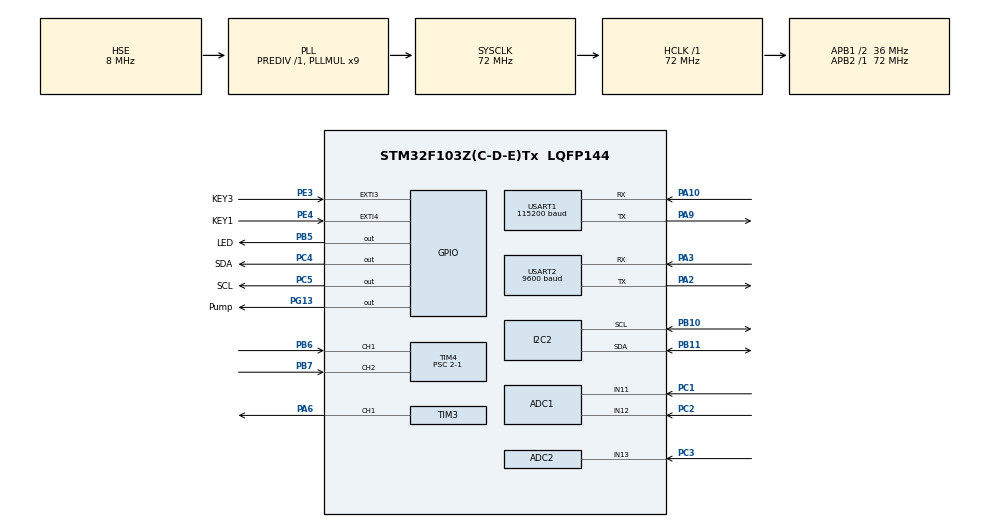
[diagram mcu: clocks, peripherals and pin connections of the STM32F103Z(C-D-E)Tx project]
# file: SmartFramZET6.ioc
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ADC1.Channel-1\#ChannelRegularConversion=ADC_CHANNEL_12
ADC1.Channel-2\#ChannelRegularConversion=ADC_CHANNEL_11
ADC1.ContinuousConvMode=ENABLE
ADC1.NbrOfConversion=2
ADC1.NbrOfConversionFlag=1
ADC1.Rank-1\#ChannelRegularConversion=1
ADC1.Rank-2\#ChannelRegularConversion=2
ADC1.SamplingTime-1\#ChannelRegularConversion=ADC_SAMPLETIME_239CYCLES_5
ADC1.SamplingTime-2\#ChannelRegularConversion=ADC_SAMPLETIME_239CYCLES_5
ADC1.master=1
ADC2.Channel-1\#ChannelRegularConversion=ADC_CHANNEL_13
ADC2.ContinuousConvMode=ENABLE
ADC2.NbrOfConversionFlag=1
ADC2.Rank-1\#ChannelRegularConversion=1
ADC2.SamplingTime-1\#ChannelRegularConversion=ADC_SAMPLETIME_239CYCLES_5
Dma.ADC1.2.Direction=DMA_PERIPH_TO_MEMORY
Dma.ADC1.2.Instance=DMA1_Channel1
Dma.ADC1.2.MemDataAlignment=DMA_MDATAALIGN_HALFWORD
Dma.ADC1.2.MemInc=DMA_MINC_ENABLE
Dma.ADC1.2.Mode=DMA_CIRCULAR
Dma.ADC1.2.PeriphDataAlignment=DMA_PDATAALIGN_HALFWORD
Dma.ADC1.2.PeriphInc=DMA_PINC_DISABLE
Dma.ADC1.2.Priority=DMA_PRIORITY_LOW
Dma.Request0=USART2_RX
Dma.Request1=USART2_TX
Dma.Request2=ADC1
Dma.Request3=USART1_RX
Dma.Request4=USART1_TX
Dma.USART1_RX.3.Direction=DMA_PERIPH_TO_MEMORY
Dma.USART1_RX.3.Instance=DMA1_Channel5
Dma.USART1_RX.3.MemDataAlignment=DMA_MDATAALIGN_BYTE
Dma.USART1_RX.3.MemInc=DMA_MINC_ENABLE
Dma.USART1_RX.3.Mode=DMA_NORMAL
Dma.USART1_RX.3.PeriphDataAlignment=DMA_PDATAALIGN_BYTE
Dma.USART1_RX.3.PeriphInc=DMA_PINC_DISABLE
Dma.USART1_RX.3.Priority=DMA_PRIORITY_LOW
Dma.USART1_TX.4.Direction=DMA_MEMORY_TO_PERIPH
Dma.USART1_TX.4.Instance=DMA1_Channel4
Dma.USART1_TX.4.MemDataAlignment=DMA_MDATAALIGN_BYTE
Dma.USART1_TX.4.MemInc=DMA_MINC_ENABLE
Dma.USART1_TX.4.Mode=DMA_NORMAL
Dma.USART1_TX.4.PeriphDataAlignment=DMA_PDATAALIGN_BYTE
Dma.USART1_TX.4.PeriphInc=DMA_PINC_DISABLE
Dma.USART1_TX.4.Priority=DMA_PRIORITY_LOW
Dma.USART2_RX.0.Direction=DMA_PERIPH_TO_MEMORY
Dma.USART2_RX.0.Instance=DMA1_Channel6
Dma.USART2_RX.0.MemDataAlignment=DMA_MDATAALIGN_BYTE
Dma.USART2_RX.0.MemInc=DMA_MINC_ENABLE
Dma.USART2_RX.0.Mode=DMA_NORMAL
Dma.USART2_RX.0.PeriphDataAlignment=DMA_PDATAALIGN_BYTE
Dma.USART2_RX.0.PeriphInc=DMA_PINC_DISABLE
Dma.USART2_RX.0.Priority=DMA_PRIORITY_LOW
Dma.USART2_TX.1.Direction=DMA_MEMORY_TO_PERIPH
Dma.USART2_TX.1.Instance=DMA1_Channel7
Dma.USART2_TX.1.MemDataAlignment=DMA_MDATAALIGN_BYTE
Dma.USART2_TX.1.MemInc=DMA_MINC_ENABLE
Dma.USART2_TX.1.Mode=DMA_NORMAL
Dma.USART2_TX.1.PeriphDataAlignment=DMA_PDATAALIGN_BYTE
Dma.USART2_TX.1.PeriphInc=DMA_PINC_DISABLE
Dma.USART2_TX.1.Priority=DMA_PRIORITY_LOW
FREERTOS.BinarySemaphores01=InputEventSem,Dynamic,NULL,Available
FREERTOS.Mutexes01=i2c2Mutex,Dynamic,NULL,Available
FREERTOS.Queues01=BLEQueue,16,char*,0,Dynamic,NULL,NULL
FREERTOS.Tasks01=SensorTask,24,512,StartSensorTask,As weak,NULL,Dynamic,NULL,NULL;InputTask,40,128,StartInputTask,As external,NULL,Dynamic,NULL,NULL;ScreenTask,21,128,StartScreenTask,As external,NULL,Dynamic,NULL,NULL;BLETask,8,256,StartBLETask,As external,NULL,Dynamic,NULL,NULL
FREERTOS.Timers01=BeepTimer,BeepTimerCallback,osTimerPeriodic,As external,NULL,Dynamic,NULL
FREERTOS.configGENERATE_RUN_TIME_STATS=1
FREERTOS.configRECORD_STACK_HIGH_ADDRESS=1
FREERTOS.configTOTAL_HEAP_SIZE=10240
FREERTOS.configUSE_TICKLESS_IDLE=0
Mcu.Family=STM32F1
Mcu.Name=STM32F103Z(C-D-E)Tx
Mcu.Package=LQFP144
NVIC.DMA1_Channel1_IRQn=true\:5\:0\:false\:false\:true\:true\:false\:true\:true
NVIC.DMA1_Channel4_IRQn=true\:5\:0\:false\:false\:true\:true\:false\:true\:true
NVIC.DMA1_Channel5_IRQn=true\:5\:0\:false\:false\:true\:true\:false\:true\:true
NVIC.DMA1_Channel6_IRQn=true\:5\:0\:false\:false\:true\:true\:false\:true\:true
NVIC.DMA1_Channel7_IRQn=true\:5\:0\:false\:false\:true\:true\:false\:true\:true
NVIC.EXTI3_IRQn=true\:6\:0\:true\:false\:true\:true\:true\:true\:true
NVIC.EXTI4_IRQn=true\:6\:0\:true\:false\:true\:true\:true\:true\:true
NVIC.PriorityGroup=NVIC_PRIORITYGROUP_4
NVIC.RTC_Alarm_IRQn=true\:5\:0\:false\:false\:true\:true\:true\:true\:true
NVIC.TIM2_IRQn=true\:15\:0\:false\:false\:true\:false\:false\:true\:true
NVIC.TimeBase=TIM2_IRQn
NVIC.TimeBaseIP=TIM2
NVIC.USART1_IRQn=true\:5\:0\:false\:false\:true\:true\:true\:true\:true
NVIC.USART2_IRQn=true\:5\:0\:false\:false\:true\:true\:true\:true\:true
OSC_IN.Mode=HSE-External-Oscillator
OSC_IN.Signal=RCC_OSC_IN
OSC_OUT.Mode=HSE-External-Oscillator
OSC_OUT.Signal=RCC_OSC_OUT
PA10.Mode=Asynchronous
PA10.Signal=USART1_RX
PA13.Mode=Serial_Wire
PA13.Signal=SYS_JTMS-SWDIO
PA14.Mode=Serial_Wire
PA14.Signal=SYS_JTCK-SWCLK
PA2.Mode=Asynchronous
PA2.Signal=USART2_TX
PA3.Mode=Asynchronous
PA3.Signal=USART2_RX
PA6.Signal=S_TIM3_CH1
PA9.Mode=Asynchronous
PA9.Signal=USART1_TX
PB10.Mode=I2C
PB10.Signal=I2C2_SCL
PB11.Mode=I2C
PB11.Signal=I2C2_SDA
PB5.GPIO_Label=LED
PB5.PinState=GPIO_PIN_SET
PB5.Signal=GPIO_Output
PB6.Signal=S_TIM4_CH1
PB7.Signal=S_TIM4_CH2
PC1.Signal=ADCx_IN11
PC2.Signal=ADCx_IN12
PC3.Signal=ADCx_IN13
PC4.GPIO_Label=SDA
PC4.GPIO_ModeDefaultOutputPP=GPIO_MODE_OUTPUT_OD
PC4.GPIO_PuPd=GPIO_PULLUP
PC4.Signal=GPIO_Output
PC5.GPIO_Label=SCL
PC5.GPIO_ModeDefaultOutputPP=GPIO_MODE_OUTPUT_PP
PC5.Signal=GPIO_Output
PE3.GPIO_Label=KEY3
PE3.GPIO_ModeDefaultEXTI=GPIO_MODE_IT_FALLING
PE3.GPIO_PuPd=GPIO_PULLUP
PE3.Signal=GPXTI3
PE4.GPIO_Label=KEY1
PE4.GPIO_ModeDefaultEXTI=GPIO_MODE_IT_FALLING
PE4.GPIO_PuPd=GPIO_PULLUP
PE4.Signal=GPXTI4
PG13.GPIO_Label=Pump
PG13.Signal=GPIO_Output
ProjectManager.HeapSize=0x200
ProjectManager.StackSize=0x400
ProjectManager.TargetToolchain=CMake
RCC.ADCPresc=RCC_ADCPCLK2_DIV6
RCC.AHBFreq_Value=72000000
RCC.APB1CLKDivider=RCC_HCLK_DIV2
RCC.APB1Freq_Value=36000000
RCC.APB1TimFreq_Value=72000000
RCC.APB2Freq_Value=72000000
RCC.APB2TimFreq_Value=72000000
RCC.HCLKFreq_Value=72000000
RCC.PLLMUL=RCC_PLL_MUL9
RCC.PLLSourceVirtual=RCC_PLLSOURCE_HSE
RCC.SYSCLKFreq_VALUE=72000000
RCC.SYSCLKSource=RCC_SYSCLKSOURCE_PLLCLK
RCC.USBFreq_Value=72000000
SH.ADCx_IN11.0=ADC1_IN11,IN11
SH.ADCx_IN12.0=ADC1_IN12,IN12
SH.ADCx_IN13.0=ADC2_IN13,IN13
SH.S_TIM3_CH1.0=TIM3_CH1,PWM Generation1 CH1
SH.S_TIM4_CH1.0=TIM4_CH1,Encoder_Interface
SH.S_TIM4_CH2.0=TIM4_CH2,Encoder_Interface
TIM3.Channel-PWM\ Generation1\ CH1=TIM_CHANNEL_1
TIM3.CounterMode=TIM_COUNTERMODE_DOWN
TIM3.Period=500-1
TIM3.Prescaler=72-1
TIM4.IC1Filter=15
TIM4.IC1Polarity=TIM_ICPOLARITY_FALLING
TIM4.IC2Filter=15
TIM4.Prescaler=2-1
USART1.BaudRate=115200
USART1.VirtualMode=VM_ASYNC
USART2.BaudRate=9600
USART2.VirtualMode=VM_ASYNC
VP_FREERTOS_VS_CMSIS_V2.Mode=CMSIS_V2
VP_RTC_VS_RTC_Activate.Mode=RTC_Enabled
VP_RTC_VS_RTC_Calendar.Mode=RTC_Calendar
VP_SYS_VS_tim2.Mode=TIM2
board=custom

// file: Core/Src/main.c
/* USER CODE BEGIN Header */
/**
  ******************************************************************************
  * @file           : main.c
  * @brief          : Main program body
  ******************************************************************************
  * @attention
  *
  * Copyright (c) 2026 STMicroelectronics.
  * All rights reserved.
  *
  * This software is licensed under terms that can be found in the LICENSE file
  * in the root directory of this software component.
  * If no LICENSE file comes with this software, it is provided AS-IS.
  *
  ******************************************************************************
  */
/* USER CODE END Header */
#include "main.h"
#include "cmsis_os.h"
#include "adc.h"
#include "dma.h"
#include "i2c.h"
#include "rtc.h"
#include "tim.h"
#include "usart.h"
#include "gpio.h"

/* USER CODE BEGIN Includes */
#include <string.h>
#include <screen.h>
#include <stdio.h>  // 【新增】引入 printf 所在的标准库
#include <stdarg.h> // 处理可变参数需要的库
/* USER CODE END Includes */

void SystemClock_Config(void);
void MX_FREERTOS_Init(void);

int main(void)
{

  /* MCU Configuration--------------------------------------------------------*/

  /* Reset of all peripherals, Initializes the Flash interface and the Systick. */
  HAL_Init();

  /* Configure the system clock */
  SystemClock_Config();

  /* Initialize all configured peripherals */
  MX_GPIO_Init();
  MX_DMA_Init();
  MX_ADC1_Init();
  MX_I2C2_Init();
  MX_USART1_UART_Init();
  MX_TIM4_Init();
  MX_USART2_UART_Init();
  MX_ADC2_Init();
  MX_TIM3_Init();
  MX_RTC_Init();

  /* Init scheduler */
  osKernelInitialize();  /* Call init function for freertos objects (in cmsis_os2.c) */
  MX_FREERTOS_Init();

  /* Start scheduler */
  osKernelStart();

  /* We should never get here as control is now taken by the scheduler */

  /* Infinite loop */
  while (1)
  {

  }
}

void SystemClock_Config(void)
{
  RCC_OscInitTypeDef RCC_OscInitStruct = {0};
  RCC_ClkInitTypeDef RCC_ClkInitStruct = {0};
  RCC_PeriphCLKInitTypeDef PeriphClkInit = {0};

  /** Initializes the RCC Oscillators according to the specified parameters
  * in the RCC_OscInitTypeDef structure.
  */
  RCC_OscInitStruct.OscillatorType = RCC_OSCILLATORTYPE_LSI|RCC_OSCILLATORTYPE_HSE;
  RCC_OscInitStruct.HSEState = RCC_HSE_ON;
  RCC_OscInitStruct.HSEPredivValue = RCC_HSE_PREDIV_DIV1;
  RCC_OscInitStruct.HSIState = RCC_HSI_ON;
  RCC_OscInitStruct.LSIState = RCC_LSI_ON;
  RCC_OscInitStruct.PLL.PLLState = RCC_PLL_ON;
  RCC_OscInitStruct.PLL.PLLSource = RCC_PLLSOURCE_HSE;
  RCC_OscInitStruct.PLL.PLLMUL = RCC_PLL_MUL9;
  if (HAL_RCC_OscConfig(&RCC_OscInitStruct) != HAL_OK)
  {
    Error_Handler();
  }

  /** Initializes the CPU, AHB and APB buses clocks
  */
  RCC_ClkInitStruct.ClockType = RCC_CLOCKTYPE_HCLK|RCC_CLOCKTYPE_SYSCLK
                              |RCC_CLOCKTYPE_PCLK1|RCC_CLOCKTYPE_PCLK2;
  RCC_ClkInitStruct.SYSCLKSource = RCC_SYSCLKSOURCE_PLLCLK;
  RCC_ClkInitStruct.AHBCLKDivider = RCC_SYSCLK_DIV1;
  RCC_ClkInitStruct.APB1CLKDivider = RCC_HCLK_DIV2;
  RCC_ClkInitStruct.APB2CLKDivider = RCC_HCLK_DIV1;

  if (HAL_RCC_ClockConfig(&RCC_ClkInitStruct, FLASH_LATENCY_2) != HAL_OK)
  {
    Error_Handler();
  }
  PeriphClkInit.PeriphClockSelection = RCC_PERIPHCLK_RTC|RCC_PERIPHCLK_ADC;
  PeriphClkInit.RTCClockSelection = RCC_RTCCLKSOURCE_LSI;
  PeriphClkInit.AdcClockSelection = RCC_ADCPCLK2_DIV6;
  if (HAL_RCCEx_PeriphCLKConfig(&PeriphClkInit) != HAL_OK)
  {
    Error_Handler();
  }
}

/* USER CODE BEGIN 4 */
void HAL_GPIO_EXTI_Callback(uint16_t GPIO_Pin)
{

  // 【防弹衣】：如果在开机瞬间、信号量还没创建时触发了中断，直接忽略，防止空指针死机！
  if (InputEventSemHandle == NULL) {
    return;
  }

  // 静态变量，记录上一次有效按键的时间戳
  static uint32_t last_trigger_time = 0;

  // 获取当前系统的运行时间 (毫秒)
  uint32_t current_time = HAL_GetTick();

  // 判断是不是我们的 KEY1 (PE4) 或 KEY3 (PE3) 触发的
  if (GPIO_Pin == GPIO_PIN_4 || GPIO_Pin == GPIO_PIN_3)
  {
    // 核心防抖魔法：距离上次触发必须超过 50 毫秒！
    // 凡是 50 毫秒内接连触发的电平跳变，统统视为弹片抖动，直接无视！
    if (current_time - last_trigger_time > 50)
    {
      // 释放信号量，把死睡的 InputTask 叫醒
      osSemaphoreRelease(InputEventSemHandle);

      // 刷新最后一次有效按键的时间
      last_trigger_time = current_time;

      // 【核心新增】：只要有按键按下，立刻重置清醒倒计时为 1 秒！
      ui_keep_awake_ms = 5000;
    }
  }
}
/* USER CODE END 4 */

void HAL_TIM_PeriodElapsedCallback(TIM_HandleTypeDef *htim)
{
  if (htim->Instance == TIM2)
  {
    HAL_IncTick();
  }
}

void Error_Handler(void)
{
  __disable_irq();
  while (1)
  {
  }
}

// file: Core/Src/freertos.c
/* USER CODE BEGIN Header */
/**
  ******************************************************************************
  * File Name          : freertos.c
  * Description        : Code for freertos applications
  ******************************************************************************
  * @attention
  *
  * Copyright (c) 2026 STMicroelectronics.
  * All rights reserved.
  *
  * This software is licensed under terms that can be found in the LICENSE file
  * in the root directory of this software component.
  * If no LICENSE file comes with this software, it is provided AS-IS.
  *
  ******************************************************************************
  */
/* USER CODE END Header */

#include "FreeRTOS.h"
#include "task.h"
#include "main.h"
#include "cmsis_os.h"

/* USER CODE BEGIN Includes */
#include <string.h>
#include <stdio.h>
#include "oled.h"
#include "font.h"
#include <math.h>
#include "usart.h"
/* USER CODE END Includes */

/* Definitions for SensorTask */
osThreadId_t SensorTaskHandle;
const osThreadAttr_t SensorTask_attributes = {
  .name = "SensorTask",
  .stack_size = 512 * 4,
  .priority = (osPriority_t) osPriorityNormal,
};
/* Definitions for InputTask */
osThreadId_t InputTaskHandle;
const osThreadAttr_t InputTask_attributes = {
  .name = "InputTask",
  .stack_size = 128 * 4,
  .priority = (osPriority_t) osPriorityHigh,
};
/* Definitions for ScreenTask */
osThreadId_t ScreenTaskHandle;
const osThreadAttr_t ScreenTask_attributes = {
  .name = "ScreenTask",
  .stack_size = 128 * 4,
  .priority = (osPriority_t) osPriorityBelowNormal5,
};
/* Definitions for BLETask */
osThreadId_t BLETaskHandle;
const osThreadAttr_t BLETask_attributes = {
  .name = "BLETask",
  .stack_size = 256 * 4,
  .priority = (osPriority_t) osPriorityLow,
};
/* Definitions for BLEQueue */
osMessageQueueId_t BLEQueueHandle;
const osMessageQueueAttr_t BLEQueue_attributes = {
  .name = "BLEQueue"
};
/* Definitions for BeepTimer */
osTimerId_t BeepTimerHandle;
const osTimerAttr_t BeepTimer_attributes = {
  .name = "BeepTimer"
};
/* Definitions for i2c2Mutex */
osMutexId_t i2c2MutexHandle;
const osMutexAttr_t i2c2Mutex_attributes = {
  .name = "i2c2Mutex"
};
/* Definitions for InputEventSem */
osSemaphoreId_t InputEventSemHandle;
const osSemaphoreAttr_t InputEventSem_attributes = {
  .name = "InputEventSem"
};

void StartSensorTask(void *argument);
extern void StartInputTask(void *argument);
extern void StartScreenTask(void *argument);
extern void StartBLETask(void *argument);
extern void BeepTimerCallback(void *argument);

void MX_FREERTOS_Init(void); /* (MISRA C 2004 rule 8.1) */

/* Hook prototypes */
void configureTimerForRunTimeStats(void);
unsigned long getRunTimeCounterValue(void);

/* USER CODE BEGIN 1 */
/* Functions needed when configGENERATE_RUN_TIME_STATS is on */
__weak void configureTimerForRunTimeStats(void)
{

}

__weak unsigned long getRunTimeCounterValue(void)
{
return 0;
}
/* USER CODE END 1 */

void MX_FREERTOS_Init(void) {
  /* Create the mutex(es) */
  /* creation of i2c2Mutex */
  i2c2MutexHandle = osMutexNew(&i2c2Mutex_attributes);

  /* Create the semaphores(s) */
  /* creation of InputEventSem */
  InputEventSemHandle = osSemaphoreNew(1, 1, &InputEventSem_attributes);

  /* Create the timer(s) */
  /* creation of BeepTimer */
  BeepTimerHandle = osTimerNew(BeepTimerCallback, osTimerPeriodic, NULL, &BeepTimer_attributes);

  /* Create the queue(s) */
  /* creation of BLEQueue */
  BLEQueueHandle = osMessageQueueNew (16, sizeof(char*), &BLEQueue_attributes);

  /* Create the thread(s) */
  /* creation of SensorTask */
  SensorTaskHandle = osThreadNew(StartSensorTask, NULL, &SensorTask_attributes);

  /* creation of InputTask */
  InputTaskHandle = osThreadNew(StartInputTask, NULL, &InputTask_attributes);

  /* creation of ScreenTask */
  ScreenTaskHandle = osThreadNew(StartScreenTask, NULL, &ScreenTask_attributes);

  /* creation of BLETask */
  BLETaskHandle = osThreadNew(StartBLETask, NULL, &BLETask_attributes);

}

__weak void StartSensorTask(void *argument)
{
   for(;;)
   {
     osDelay(1);
   }
}
